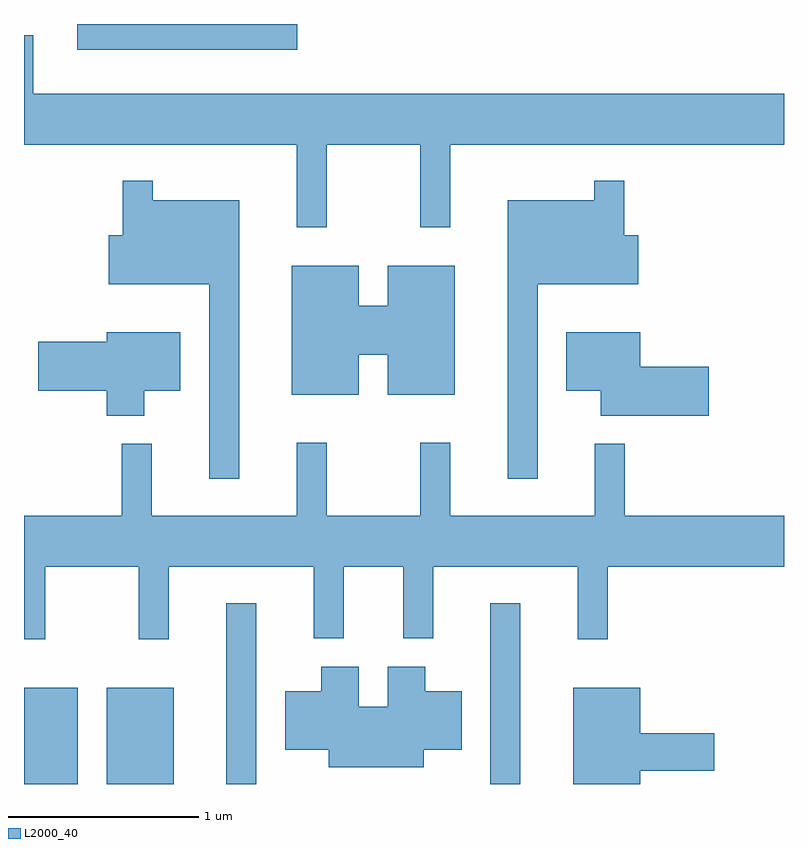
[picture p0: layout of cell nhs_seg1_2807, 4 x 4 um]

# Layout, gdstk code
import gdstk
lib = gdstk.Library(unit=1e-6, precision=1e-09)
def R(c, l, rs):  # rectangles x0, y0, x1, y1
    for r in rs: c.add(gdstk.rectangle(r[:2], r[2:], *l))
def P(c, l, *ps):  # polygons
    for p in ps: c.add(gdstk.Polygon(p, *l))
L2000_40 = (2000, 40)

nhs_seg1_2807 = lib.new_cell('nhs_seg1_2807')
R(nhs_seg1_2807, L2000_40, [(269.611,951.712,269.894,952.219), (270.046,951.712,270.399,952.219), (270.676,951.712,270.834,952.663), (272.066,951.712,272.224,952.663), (269.891,955.576,271.048,955.712)])
P(nhs_seg1_2807, L2000_40, [(271.204,955.076),(271.696,955.076),(271.696,954.643),(271.854,954.643),(271.854,955.076),(273.611,955.076),(273.611,955.344),(269.659,955.344),(269.659,955.654),(269.611,955.654),(269.611,955.076),(271.046,955.076),(271.046,954.643),(271.204,954.643)],
  [(272.314,954.341),(272.844,954.341),(272.844,954.599),(272.769,954.599),(272.769,954.888),(272.611,954.888),(272.611,954.784),(272.156,954.784),(272.156,953.318),(272.314,953.318)],
  [(270.744,954.784),(270.289,954.784),(270.289,954.888),(270.131,954.888),(270.131,954.599),(270.056,954.599),(270.056,954.341),(270.586,954.341),(270.586,953.318),(270.744,953.318)],
  [(271.374,953.971),(271.526,953.971),(271.526,953.761),(271.879,953.761),(271.879,954.439),(271.526,954.439),(271.526,954.229),(271.374,954.229),(271.374,954.439),(271.021,954.439),(271.021,953.761),(271.374,953.761)],
  [(273.214,953.909),(272.854,953.909),(272.854,954.089),(272.466,954.089),(272.466,953.781),(272.646,953.781),(272.646,953.651),(273.214,953.651)],
  [(270.244,953.781),(270.434,953.781),(270.434,954.089),(270.046,954.089),(270.046,954.039),(269.686,954.039),(269.686,953.781),(270.046,953.781),(270.046,953.651),(270.244,953.651)],
  [(269.724,952.856),(270.216,952.856),(270.216,952.473),(270.374,952.473),(270.374,952.856),(271.136,952.856),(271.136,952.478),(271.294,952.478),(271.294,952.856),(271.606,952.856),(271.606,952.478),(271.764,952.478),(271.764,952.856),(272.526,952.856),(272.526,952.473),(272.684,952.473),(272.684,952.856),(273.611,952.856),(273.611,953.124),(272.774,953.124),(272.774,953.503),(272.616,953.503),(272.616,953.124),(271.854,953.124),(271.854,953.508),(271.696,953.508),(271.696,953.124),(271.204,953.124),(271.204,953.508),(271.046,953.508),(271.046,953.124),(270.284,953.124),(270.284,953.503),(270.126,953.503),(270.126,953.124),(269.611,953.124),(269.611,952.473),(269.724,952.473)],
  [(271.714,951.891),(271.914,951.891),(271.914,952.199),(271.724,952.199),(271.724,952.329),(271.526,952.329),(271.526,952.119),(271.374,952.119),(271.374,952.329),(271.176,952.329),(271.176,952.199),(270.986,952.199),(270.986,951.891),(271.216,951.891),(271.216,951.801),(271.714,951.801)],
  [(272.854,951.781),(273.244,951.781),(273.244,951.979),(272.854,951.979),(272.854,952.219),(272.501,952.219),(272.501,951.712),(272.854,951.712)])

lib.write_gds('nhs_seg1_2807.gds')
